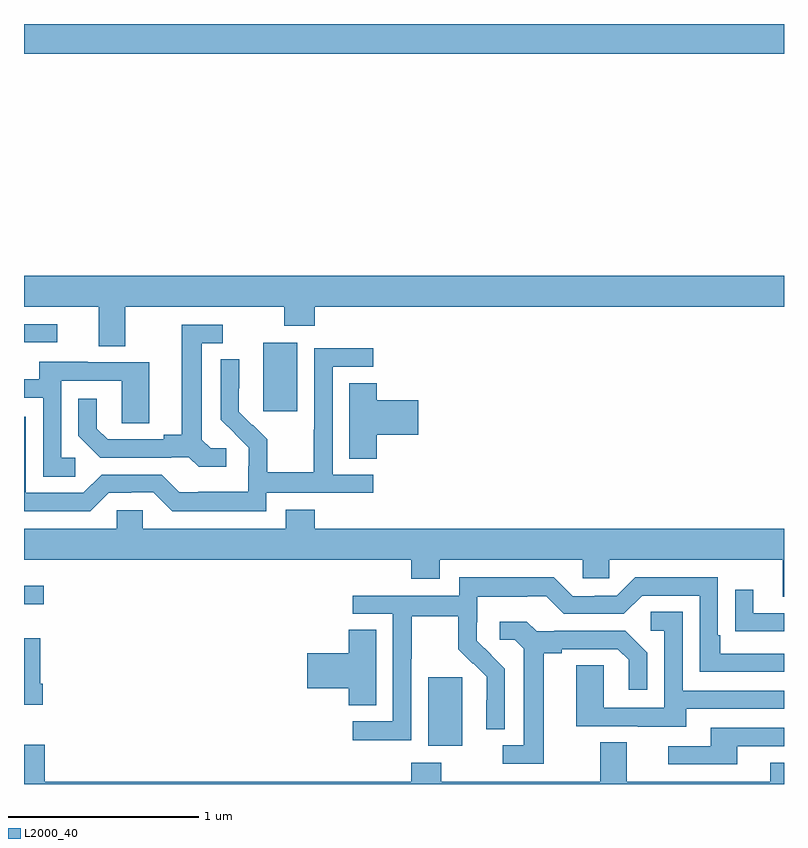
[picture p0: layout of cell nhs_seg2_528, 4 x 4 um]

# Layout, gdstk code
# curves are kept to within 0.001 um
import gdstk
lib = gdstk.Library(unit=1e-6, precision=1e-09)
def R(c, l, rs):  # rectangles x0, y0, x1, y1
    for r in rs: c.add(gdstk.rectangle(r[:2], r[2:], *l))
def P(c, l, *ps):  # polygons
    for p in ps: c.add(gdstk.Polygon(p, *l))
L2000_40 = (2000, 40)

nhs_seg2_528 = lib.new_cell('nhs_seg2_528')
R(nhs_seg2_528, L2000_40, [(139.127,636.002,139.306,636.363), (137,636.747,137.104,636.844), (138.26,637.761,138.439,638.122), (137,638.124,137.176,638.22), (137,639.644,141,639.8)])
P(nhs_seg2_528, L2000_40, [(137.533,638.312),(138.37,638.312),(138.37,638.213),(138.53,638.213),(138.53,638.312),(141,638.312),(141,638.476),(137,638.476),(137,638.312),(137.393,638.312),(137.393,638.104),(137.533,638.104)],
  [(138.064,637.566),(137.982,637.566),(137.935,637.613),(137.935,638.121),(138.046,638.121),(138.046,638.217),(137.831,638.217),(137.831,637.637),(137.735,637.637),(137.735,637.614),(137.44,637.614),(137.383,637.671),(137.383,637.828),(137.286,637.828),(137.286,637.634),(137.402,637.518),(137.774,637.518),(137.774,637.521),(137.868,637.521),(137.92,637.469),(138.064,637.469)],
  [(138.276,637.332),(138.838,637.332),(138.838,637.428),(138.624,637.428),(138.624,637.995),(138.838,637.995),(138.838,638.094),(138.528,638.094),(138.528,637.664),(138.526,637.664),(138.526,637.441),(138.281,637.441),(138.281,637.615),(138.204,637.692),(138.201,637.689),(138.131,637.76),(138.132,638.036),(138.036,638.036),(138.036,637.718),(138.182,637.57),(138.182,637.473),(138.18,637.473),(138.18,637.339),(137.917,637.339),(137.917,637.335),(137.817,637.335),(137.724,637.428),(137.409,637.428),(137.313,637.332),(137.01,637.332),(137.01,637.734),(137,637.734),(137,637.236),(137.349,637.236),(137.445,637.332),(137.564,637.332),(137.564,637.335),(137.679,637.335),(137.779,637.235),(138.276,637.235)],
  [(137.269,637.518),(137.196,637.518),(137.196,637.923),(137.514,637.923),(137.514,637.699),(137.659,637.699),(137.659,638.019),(137.335,638.019),(137.335,638.023),(137.081,638.023),(137.081,637.929),(137,637.929),(137,637.833),(137.1,637.833),(137.1,637.417),(137.269,637.417)],
  [(138.857,637.637),(139.075,637.637),(139.075,637.82),(138.857,637.82),(138.857,637.91),(138.713,637.91),(138.713,637.513),(138.857,637.513)],
  [(141,637.144),(138.53,637.144),(138.53,637.243),(138.377,637.243),(138.377,637.144),(137.625,637.144),(137.625,637.242),(137.487,637.242),(137.487,637.144),(137,637.144),(137,636.98),(139.037,636.98),(139.037,636.881),(139.189,636.881),(139.189,636.98),(139.941,636.98),(139.941,636.882),(140.079,636.882),(140.079,636.98),(140.993,636.98),(140.993,636.786),(141,636.786)],
  [(139.038,636.46),(139.041,636.46),(139.041,636.684),(139.285,636.684),(139.285,636.509),(139.362,636.432),(139.365,636.435),(139.436,636.365),(139.436,636.242),(139.434,636.242),(139.434,636.088),(139.53,636.088),(139.53,636.406),(139.384,636.554),(139.384,636.651),(139.386,636.651),(139.386,636.785),(139.649,636.785),(139.649,636.789),(139.749,636.789),(139.842,636.696),(140.157,636.696),(140.253,636.792),(140.556,636.792),(140.556,636.39),(141,636.39),(141,636.486),(140.665,636.486),(140.665,636.583),(140.652,636.583),(140.652,636.888),(140.217,636.888),(140.121,636.792),(140.003,636.792),(140.003,636.789),(139.887,636.789),(139.787,636.889),(139.29,636.889),(139.29,636.792),(138.729,636.792),(138.729,636.696),(138.942,636.696),(138.942,636.129),(138.729,636.129),(138.729,636.031),(139.038,636.031)],
  [(141,636.699),(140.839,636.699),(140.839,636.823),(140.743,636.823),(140.743,636.604),(140.845,636.604),(140.845,636.603),(141,636.603)],
  [(140.485,636.195),(141,636.195),(141,636.291),(140.466,636.291),(140.466,636.707),(140.298,636.707),(140.298,636.606),(140.37,636.606),(140.37,636.201),(140.052,636.201),(140.052,636.425),(139.907,636.425),(139.907,636.105),(140.231,636.105),(140.231,636.101),(140.485,636.101)],
  [(139.735,636.488),(139.831,636.488),(139.831,636.51),(140.126,636.51),(140.183,636.453),(140.183,636.297),(140.28,636.297),(140.28,636.49),(140.164,636.606),(139.792,636.606),(139.792,636.603),(139.698,636.603),(139.646,636.655),(139.503,636.655),(139.503,636.558),(139.584,636.558),(139.631,636.511),(139.631,636.003),(139.521,636.003),(139.521,635.907),(139.735,635.907)],
  [(138.853,636.611),(138.71,636.611),(138.71,636.488),(138.492,636.488),(138.492,636.305),(138.71,636.305),(138.71,636.214),(138.853,636.214)],
  [(137.099,636.328),(137.086,636.328),(137.086,636.568),(137,636.568),(137,636.216),(137.099,636.216)],
  [(140.755,636),(141,636),(141,636.096),(140.615,636.096),(140.615,636),(140.391,636),(140.391,635.904),(140.755,635.904)],
  [(141,635.911),(140.927,635.911),(140.927,635.812),(140.173,635.812),(140.173,636.02),(140.033,636.02),(140.033,635.812),(139.197,635.812),(139.197,635.911),(139.037,635.911),(139.037,635.812),(137.108,635.812),(137.108,636.007),(137,636.007),(137,635.8),(141,635.8)])

lib.write_gds('nhs_seg2_528.gds')
